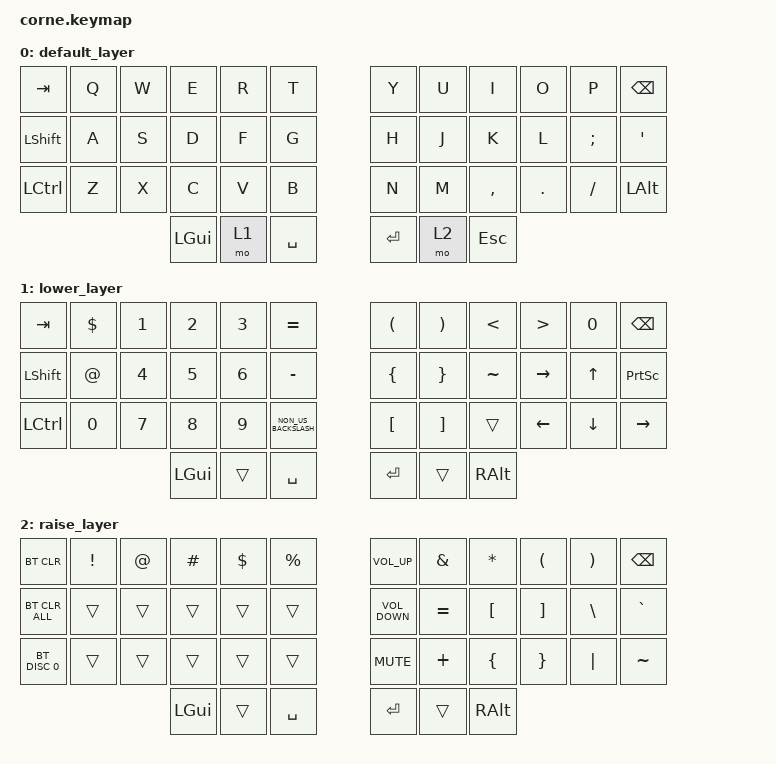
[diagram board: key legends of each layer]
/*
 * Copyright (c) 2020 The ZMK Contributors
 *
 * SPDX-License-Identifier: MIT
 */

#include <behaviors.dtsi>
#include <dt-bindings/zmk/bt.h>
#include <dt-bindings/zmk/keys.h>

/ {
    keymap {
        compatible = "zmk,keymap";

        default_layer {
            // -----------------------------------------------------------------------------------------
            // |  TAB |  Q  |  W  |  E  |  R  |  T  |   |  Y  |  U   |  I  |  O  |  P  | BSPC |
            // | CTRL |  A  |  S  |  D  |  F  |  G  |   |  H  |  J   |  K  |  L  |  ;  |  '   |
            // | SHFT |  Z  |  X  |  C  |  V  |  B  |   |  N  |  M   |  ,  |  .  |  /  | ESC  |
            //                    | GUI | LWR | SPC |   | ENT | RSE  | ALT |

            bindings = <
&kp TAB           &kp Q  &kp W  &kp E     &kp R  &kp T        &kp Y    &kp U  &kp I       &kp O    &kp P     &kp BSPC
&kp LEFT_SHIFT    &kp A  &kp S  &kp D     &kp F  &kp G        &kp H    &kp J  &kp K       &kp L    &kp SEMI  &kp SQT
&kp LEFT_CONTROL  &kp Z  &kp X  &kp C     &kp V  &kp B        &kp N    &kp M  &kp COMMA   &kp DOT  &kp FSLH  &kp LEFT_ALT
                                &kp LGUI  &mo 1  &kp SPACE    &kp RET  &mo 2  &kp ESCAPE
            >;
        };

        lower_layer {
            // -----------------------------------------------------------------------------------------
            // |  TAB |  1  |  2  |  3  |  4  |  5  |   |  6  |  7  |  8  |  9  |  0  | BSPC |
            // | BTCLR| BT1 | BT2 | BT3 | BT4 | BT5 |   | LFT | DWN |  UP | RGT |     |      |
            // | SHFT |     |     |     |     |     |   |     |     |     |     |     |      |
            //                    | GUI |     | SPC |   | ENT |     | ALT |

            bindings = <
&kp TAB           &kp DOLLAR   &kp NUMBER_1  &kp NUMBER_2  &kp NUMBER_3  &kp EQUAL               &kp LEFT_PARENTHESIS  &kp RIGHT_PARENTHESIS  &kp LESS_THAN  &kp GREATER_THAN  &kp N0          &kp BSPC
&kp LEFT_SHIFT    &kp AT_SIGN  &kp NUMBER_4  &kp N5        &kp NUMBER_6  &kp MINUS               &kp LEFT_BRACE        &kp RIGHT_BRACE        &kp TILDE      &kp RIGHT         &kp UP_ARROW    &kp PRINTSCREEN
&kp LEFT_CONTROL  &kp N0       &kp N7        &kp N8        &kp N9        &kp NON_US_BACKSLASH    &kp LEFT_BRACKET      &kp RIGHT_BRACKET      &trans         &kp LEFT          &kp DOWN_ARROW  &kp RIGHT
                                             &kp LGUI      &trans        &kp SPACE               &kp RET               &trans                 &kp RALT
            >;
        };

        raise_layer {
            // -----------------------------------------------------------------------------------------
            // |  TAB |  !  |  @  |  #  |  $  |  %  |   |  ^  |  &  |  *  |  (  |  )  | BSPC |
            // | CTRL |     |     |     |     |     |   |  -  |  =  |  [  |  ]  |  \  |  `   |
            // | SHFT |     |     |     |     |     |   |  _  |  +  |  {  |  }  | "|" |  ~   |
            //                    | GUI |     | SPC |   | ENT |     | ALT |

            bindings = <
&bt BT_CLR      &kp EXCL  &kp AT  &kp HASH  &kp DLLR  &kp PRCNT    &kp K_VOLUME_UP    &kp AMPS   &kp ASTRK  &kp LPAR  &kp RPAR  &kp BSPC
&bt BT_CLR_ALL  &trans    &trans  &trans    &trans    &trans       &kp K_VOLUME_DOWN  &kp EQUAL  &kp LBKT   &kp RBKT  &kp BSLH  &kp GRAVE
&bt BT_DISC 0   &trans    &trans  &trans    &trans    &trans       &kp K_MUTE         &kp PLUS   &kp LBRC   &kp RBRC  &kp PIPE  &kp TILDE
                                  &kp LGUI  &trans    &kp SPACE    &kp RET            &trans     &kp RALT
            >;
        };
    };
};
